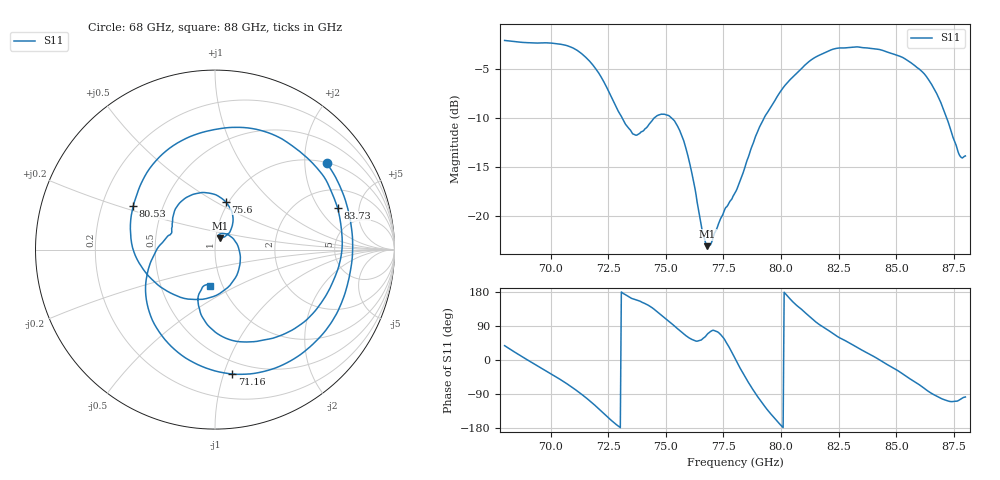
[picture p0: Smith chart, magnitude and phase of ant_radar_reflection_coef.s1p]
!Keysight Technologies,N5247B,US57180426,A.13.65.03
!Date: Tuesday, December 03, 2019 16:20:04
!Correction: S33(Full 1 Port(3))
!S1P File: Measurement: S33:
# Hz S  RI  R 50
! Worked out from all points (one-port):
!   451 points, 68 GHz to 88 GHz, reference 50 ohm
!   lowest |S11| = -23.0 dB at 76.8 GHz (marker M1), VSWR 1.15, Z = 52.2 + j6.87 ohm
!   |S11| at or under -10 dB: 73.11 GHz to 74.48 GHz (1.376 GHz wide, 1.86 % of centre); 75.25 GHz to 79.26 GHz (4.003 GHz wide, 5.18 % of centre); 87.19 GHz to end of sweep
!   S11 on the Smith chart (normalised r, x): 68 GHz: 1.01, +2.57; 71.16 GHz: 0.39, -1.07; 75.6 GHz: 0.97, +0.56; 80.53 GHz: 0.34, +0.22; 83.73 GHz: 3.11, +3.00; 88 GHz: 0.88, -0.37
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6.8e10  0.6218 0.4828
6.924444e10  0.7546 -0.1176
6.986667e10  0.6549 -0.3955
7.053333e10  0.4197 -0.6205
7.115556e10  0.0975 -0.6934
7.164444e10  -0.1642 -0.6037
7.213333e10  -0.3485 -0.3942
7.302222e10  -0.3294 -0.00942
7.368889e10  -0.2421 0.0926
7.453333e10  -0.213 0.2385
7.551111e10  0.0384 0.2847
7.56e10  0.0588 0.2672
7.68e10  0.0261 0.0654
7.8e10  0.1312 0.01
7.862222e10  0.0946 -0.1845
7.928889e10  -0.1713 -0.2719
8e10  -0.4335 -0.0555
8.053333e10  -0.456 0.2409
8.102222e10  -0.3469 0.4742
8.168889e10  -0.0272 0.6639
8.226667e10  0.2527 0.6647
8.302222e10  0.5304 0.4952
8.373333e10  0.6829 0.2315
8.457778e10  0.6769 -0.131
8.551111e10  0.4281 -0.4494
8.622222e10  0.1363 -0.5132
8.684444e10  -0.0577 -0.396
8.8e10  -0.0268 -0.2013
